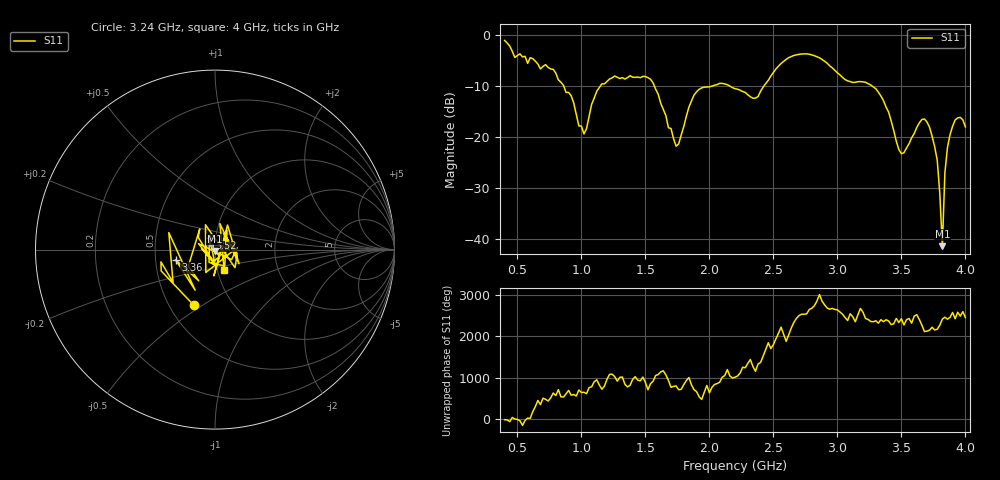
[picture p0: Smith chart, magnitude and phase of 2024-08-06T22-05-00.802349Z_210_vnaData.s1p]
!Created with skrf (http://scikit-rf.org).
# Hz S RI R 50.0
!freq ReS11 ImS11
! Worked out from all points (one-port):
!   181 points, 400 MHz to 4 GHz, reference 50 ohm
!   lowest |S11| = -41.4 dB at 3.82 GHz (marker M1), VSWR 1.02, Z = 49.8 - j0.833 ohm
!   |S11| at or under -10 dB: 861.5 MHz to 1.149 GHz (287.4 MHz wide, 28.6 % of centre); 1.569 GHz to 2.026 GHz (456.5 MHz wide, 25.4 % of centre); 3.269 GHz to end of sweep (the widest 3 of 4)
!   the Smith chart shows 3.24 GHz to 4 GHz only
!   S11 on the Smith chart (normalised r, x): 3.24 GHz: 0.66, -0.46; 3.36 GHz: 0.64, -0.08; 3.52 GHz: 0.93, +0.12; 4 GHz: 1.08, -0.25
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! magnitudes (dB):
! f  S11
! 400 MHz  -1.1
! 480 MHz  -4.5
! 860 MHz  -9.9
! 1.02 GHz  -19.4
! 1.12 GHz  -11.0
! 1.3 GHz  -8.6
! 1.54 GHz  -8.7
! 1.76 GHz  -21.3
! 1.9 GHz  -11.2
! 2.2 GHz  -10.6
! 2.36 GHz  -12.4
! 2.66 GHz  -4.1
! 2.86 GHz  -4.5
! 3.1 GHz  -9.2
! 3.24 GHz  -9.6
! 3.36 GHz  -12.9
! 3.48 GHz  -22.5
! 3.52 GHz  -23.1
! 3.56 GHz  -21.3
! 3.66 GHz  -16.6
! 3.72 GHz  -18.1
! 3.78 GHz  -24.5
! 3.8 GHz  -31.1
! 3.82 GHz  -41.4
! 3.84 GHz  -26.9
! 3.86 GHz  -22.0
! 3.92 GHz  -16.7
! 4 GHz  -18.0
